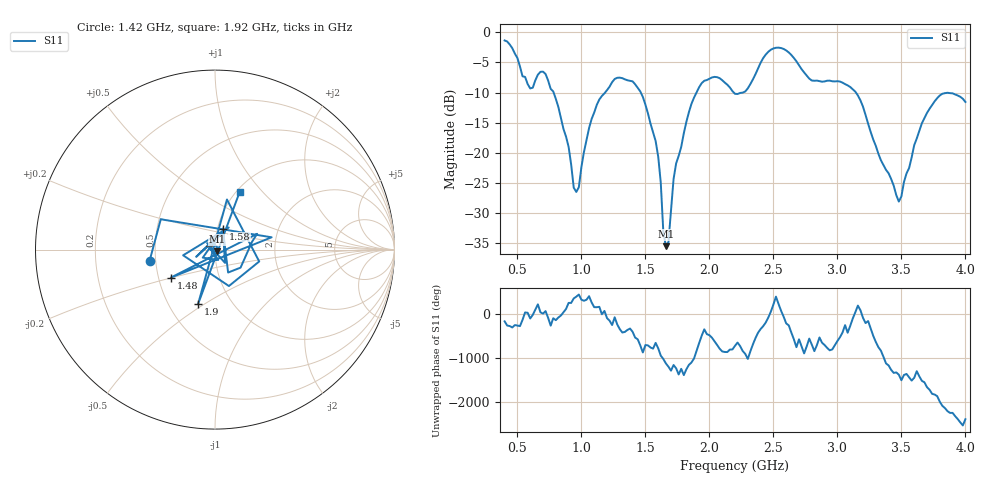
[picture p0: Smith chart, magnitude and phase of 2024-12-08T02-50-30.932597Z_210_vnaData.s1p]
!Created with skrf (http://scikit-rf.org).
# Hz S RI R 50.0
!freq ReS11 ImS11
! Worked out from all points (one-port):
!   181 points, 400 MHz to 4 GHz, reference 50 ohm
!   lowest |S11| = -35.5 dB at 1.66 GHz (marker M1), VSWR 1.03, Z = 51.4 - j1.02 ohm
!   |S11| at or under -10 dB: 782.9 MHz to 1.185 GHz (402.4 MHz wide, 40.9 % of centre); 1.464 GHz to 1.899 GHz (435.1 MHz wide, 25.9 % of centre); 3.145 GHz to end of sweep (the widest 3 of 4)
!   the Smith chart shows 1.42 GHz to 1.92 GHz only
!   S11 on the Smith chart (normalised r, x): 1.42 GHz: 0.46, -0.07; 1.48 GHz: 0.58, -0.20; 1.58 GHz: 1.06, +0.25; 1.9 GHz: 0.70, -0.47; 1.92 GHz: 1.04, +0.76
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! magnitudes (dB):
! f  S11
! 400 MHz  -1.4
! 600 MHz  -9.3
! 720 MHz  -6.9
! 860 MHz  -16.1
! 960 MHz  -26.5
! 1.12 GHz  -12.1
! 1.3 GHz  -7.5
! 1.42 GHz  -8.6
! 1.48 GHz  -10.7
! 1.58 GHz  -18.1
! 1.64 GHz  -33.2
! 1.66 GHz  -35.5
! 1.68 GHz  -34.8
! 1.72 GHz  -24.4
! 1.76 GHz  -20.5
! 1.9 GHz  -10.0
! 1.92 GHz  -9.1
! 2.06 GHz  -7.4
! 2.2 GHz  -10.2
! 2.48 GHz  -2.9
! 2.66 GHz  -4.3
! 2.8 GHz  -8.0
! 3.1 GHz  -9.1
! 3.48 GHz  -28.1
! 3.56 GHz  -22.5
! 3.66 GHz  -15.1
! 3.78 GHz  -10.9
! 4 GHz  -11.6
